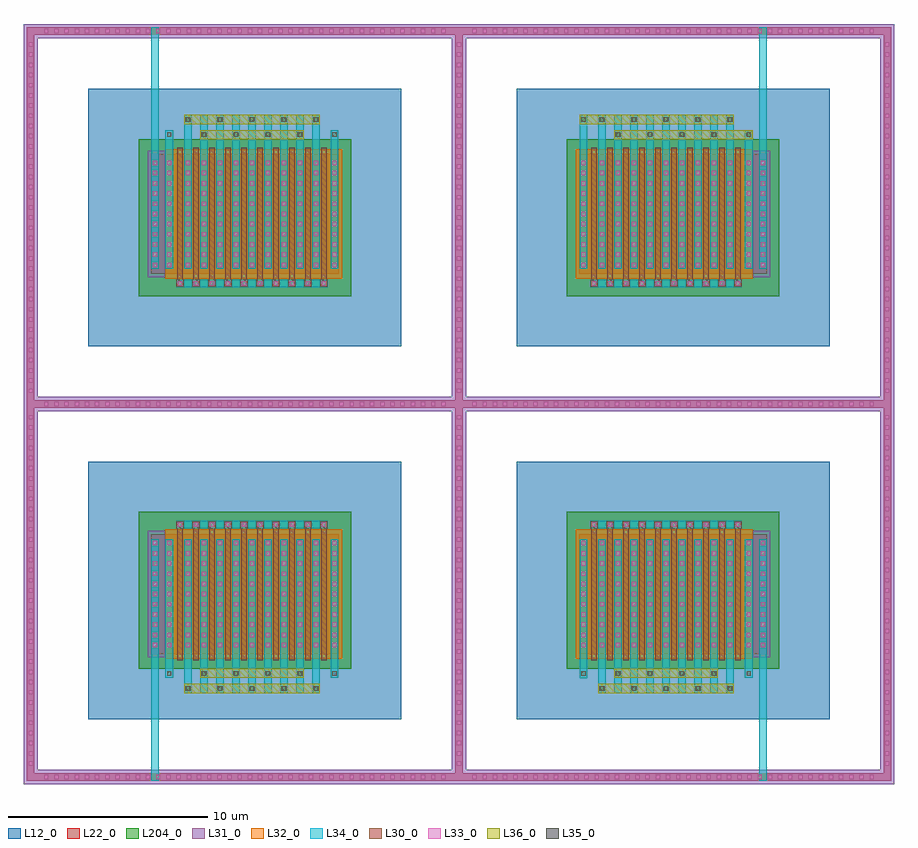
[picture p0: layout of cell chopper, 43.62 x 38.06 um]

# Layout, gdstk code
from math import pi, radians
import gdstk
lib = gdstk.Library(unit=1e-6, precision=1e-09)
def R(c, l, rs):  # rectangles x0, y0, x1, y1
    for r in rs: c.add(gdstk.rectangle(r[:2], r[2:], *l))
def A(c, l, x, y, w, h, nx, ny, dx, dy):  # array of equal rectangles
    R(c, l, [(x+i*dx, y+j*dy, x+i*dx+w, y+j*dy+h) for i in range(nx) for j in range(ny)])
def P(c, l, *ps):  # polygons
    for p in ps: c.add(gdstk.Polygon(p, *l))
L12_0 = (12, 0)
L22_0 = (22, 0)
L30_0 = (30, 0)
L31_0 = (31, 0)
L32_0 = (32, 0)
L33_0 = (33, 0)
L34_0 = (34, 0)
L35_0 = (35, 0)
L36_0 = (36, 0)
L204_0 = (204, 0)

nfet = lib.new_cell('nfet')
R(nfet, L12_0, [(-3.55,-3.26,12.12,9.632)])
R(nfet, L22_0, [(-0.42,0,0,6), (0,0,7.86,6), (7.86,0,8.28,6), (8.28,0,8.99,6)])
P(nfet, L22_0, [(-6.63,-6.34),(-6.63,12.332),(-6.25,12.332),(-6.25,-5.96),(14.82,-5.96),(14.82,12.332),(-6.63,12.332),(-6.63,12.712),(15.2,12.712),(15.2,-6.34)])
A(nfet, L30_0, 0.19, -0.3, 0.28, 6.6, 10, 1, 0.8, 0)
A(nfet, L30_0, 0.15, 6.3, 0.36, 0.36, 10, 1, 0.8, 0)
R(nfet, L31_0, [(8.28,-0.17,9.16,6.17)])
P(nfet, L31_0, [(-6.8,-6.51),(-6.8,12.162),(-6.08,12.162),(-6.08,-5.79),(14.65,-5.79),(14.65,12.162),(-6.8,12.162),(-6.8,12.882),(15.37,12.882),(15.37,-6.51)])
R(nfet, L32_0, [(-0.59,-0.24,8.28,6.24)])
A(nfet, L33_0, -5.77, -6.26, 0.22, 0.22, 40, 2, 0.51, 18.672)
A(nfet, L33_0, -6.55, -5.594, 0.22, 0.22, 1, 35, 0, 0.51)
A(nfet, L33_0, 14.9, -5.594, 0.22, 0.22, 1, 35, 0, 0.51)
A(nfet, L33_0, -0.32, 0.34, 0.22, 0.22, 1, 11, 0, 0.51)
A(nfet, L33_0, 0.62, 0.34, 0.22, 0.22, 9, 11, 0.8, 0.51)
A(nfet, L33_0, 7.96, 0.34, 0.22, 0.22, 1, 11, 0, 0.51)
A(nfet, L33_0, 8.67, 0.34, 0.22, 0.22, 1, 11, 0, 0.51)
A(nfet, L33_0, 0.22, 6.37, 0.22, 0.22, 10, 1, 0.8, 0)
A(nfet, L34_0, 0.54, 0.26, 0.38, 5.48, 9, 1, 0.8, 0)
A(nfet, L34_0, 0.14, 6.289, 0.38, 0.382, 10, 1, 0.8, 0)
R(nfet, L34_0, [(-0.4,0.26,-0.02,5.74), (7.88,0.26,8.26,5.74), (8.59,0.26,8.97,5.74)])
R(nfet, L204_0, [(-1.04,-0.75,9.61,7.122)])

chopper = lib.new_cell('chopper')
A(chopper, L34_0, -5.55, -33.8, 0.38, 2.218, 9, 2, 0.8, 26.742)
A(chopper, L34_0, 15.19, -33.8, 0.38, 2.218, 9, 2, 0.8, 26.742)
R(chopper, L34_0, [(-7.2,-38.18,-6.82,-31.58), (23.24,-38.18,23.62,-31.58), (14.25,-33.05,14.63,-31.582), (-6.49,-33.04,-6.11,-31.582), (1.79,-33.04,2.17,-31.582), (22.53,-33.04,22.91,-31.582), (-5.95,-25.551,1.63,-25.169), (14.79,-25.551,22.18,-25.169), (-5.7,-13.469,1.52,-13.087), (14.79,-13.469,22.37,-13.087), (-7.2,-7.06,-6.82,-0.46), (23.24,-7.06,23.62,-0.46), (-6.49,-7.058,-6.11,-5.6), (1.79,-7.058,2.17,-5.6), (14.25,-7.058,14.63,-4.84), (22.53,-7.058,22.91,-5.6)])
A(chopper, L35_0, -5.47, -33.67, 0.22, 0.22, 5, 2, 1.6, 28.48)
A(chopper, L35_0, 15.27, -33.67, 0.22, 0.22, 5, 2, 1.6, 28.48)
A(chopper, L35_0, -4.67, -32.92, 0.22, 0.22, 4, 2, 1.6, 26.98)
A(chopper, L35_0, 16.07, -32.92, 0.22, 0.22, 4, 2, 1.6, 26.98)
R(chopper, L35_0, [(-6.41,-32.92,-6.19,-32.7), (1.87,-32.92,2.09,-32.7), (14.33,-32.92,14.55,-32.7), (22.61,-32.92,22.83,-32.7), (-6.41,-5.94,-6.19,-5.72), (1.87,-5.94,2.09,-5.72), (22.61,-5.94,22.83,-5.72), (14.33,-5.19,14.55,-4.97)])
R(chopper, L36_0, [(-5.55,-33.8,1.23,-33.34), (15.19,-33.8,21.97,-33.34), (-4.75,-33.04,0.43,-32.58), (15.99,-33.04,21.17,-32.58), (-4.75,-6.06,0.43,-5.6), (15.99,-6.06,22.91,-5.6), (-5.55,-5.3,1.23,-4.84), (14.25,-5.3,21.97,-4.84)])
chopper.add(gdstk.Reference(nfet, (14.65,-6.798), x_reflection=True))
chopper.add(gdstk.Reference(nfet, (1.77,-6.798), rotation=pi))
chopper.add(gdstk.Reference(nfet, (14.65,-31.84)))
chopper.add(gdstk.Reference(nfet, (1.77,-31.84), rotation=pi, x_reflection=True))

lib.write_gds('chopper.gds')
